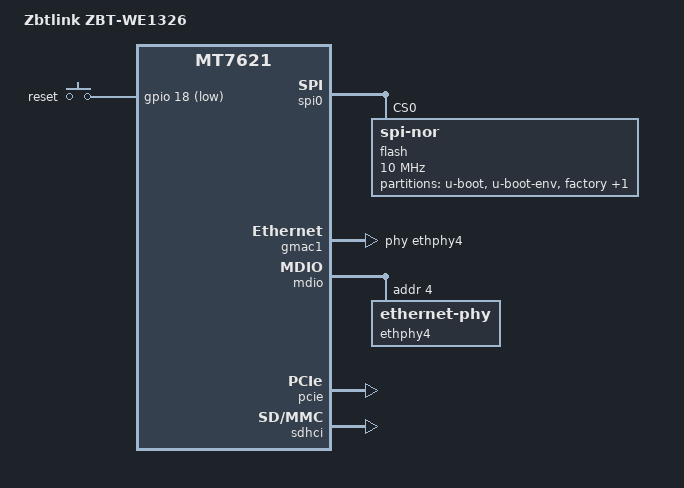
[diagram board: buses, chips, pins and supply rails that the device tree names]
#include "mt7621.dtsi"

#include <dt-bindings/gpio/gpio.h>
#include <dt-bindings/input/input.h>

/ {
	compatible = "zbtlink,zbt-we1326", "mediatek,mt7621-soc";
	model = "Zbtlink ZBT-WE1326";

	aliases {
		label-mac-device = &wifi1;
	};

	chosen {
		bootargs = "console=ttyS0,115200";
	};

	keys {
		compatible = "gpio-keys";

		reset {
			label = "reset";
			gpios = <&gpio 18 GPIO_ACTIVE_LOW>;
			linux,code = <KEY_RESTART>;
		};
	};
};

&state_default {
	gpio {
		groups = "wdt";
		function = "gpio";
	};
};

&spi0 {
	status = "okay";

	flash@0 {
		compatible = "jedec,spi-nor";
		reg = <0>;
		spi-max-frequency = <10000000>;

		partitions {
			compatible = "fixed-partitions";
			#address-cells = <1>;
			#size-cells = <1>;

			partition@0 {
				label = "u-boot";
				reg = <0x0 0x30000>;
				read-only;
			};

			partition@30000 {
				label = "u-boot-env";
				reg = <0x30000 0x10000>;
				read-only;
			};

			factory: partition@40000 {
				label = "factory";
				reg = <0x40000 0x10000>;
				read-only;
			};

			partition@50000 {
				compatible = "denx,uimage";
				label = "firmware";
				reg = <0x50000 0xfb0000>;
			};
		};
	};
};

&gmac0 {
	mtd-mac-address = <&factory 0xe000>;
};

&gmac1 {
	status = "okay";
	label = "wan";
	phy-handle = <&ethphy4>;
	mtd-mac-address = <&factory 0xe006>;
};

&mdio {
	ethphy4: ethernet-phy@4 {
		reg = <4>;
	};
};

&switch0 {
	ports {
		port@0 {
			status = "okay";
			label = "lan1";
		};

		port@1 {
			status = "okay";
			label = "lan2";
		};

		port@2 {
			status = "okay";
			label = "lan3";
		};

		port@3 {
			status = "okay";
			label = "lan4";
		};
	};
};

&pcie {
	status = "okay";
};

&pcie0 {
	wifi0: mt76@0,0 {
		reg = <0x0000 0 0 0 0>;
		mediatek,mtd-eeprom = <&factory 0x8000>;
		ieee80211-freq-limit = <5000000 6000000>;
	};
};

&pcie1 {
	wifi1: mt76@0,0 {
		reg = <0x0000 0 0 0 0>;
		mediatek,mtd-eeprom = <&factory 0x0000>;
		ieee80211-freq-limit = <2400000 2500000>;
	};
};

&sdhci {
	status = "okay";
};
